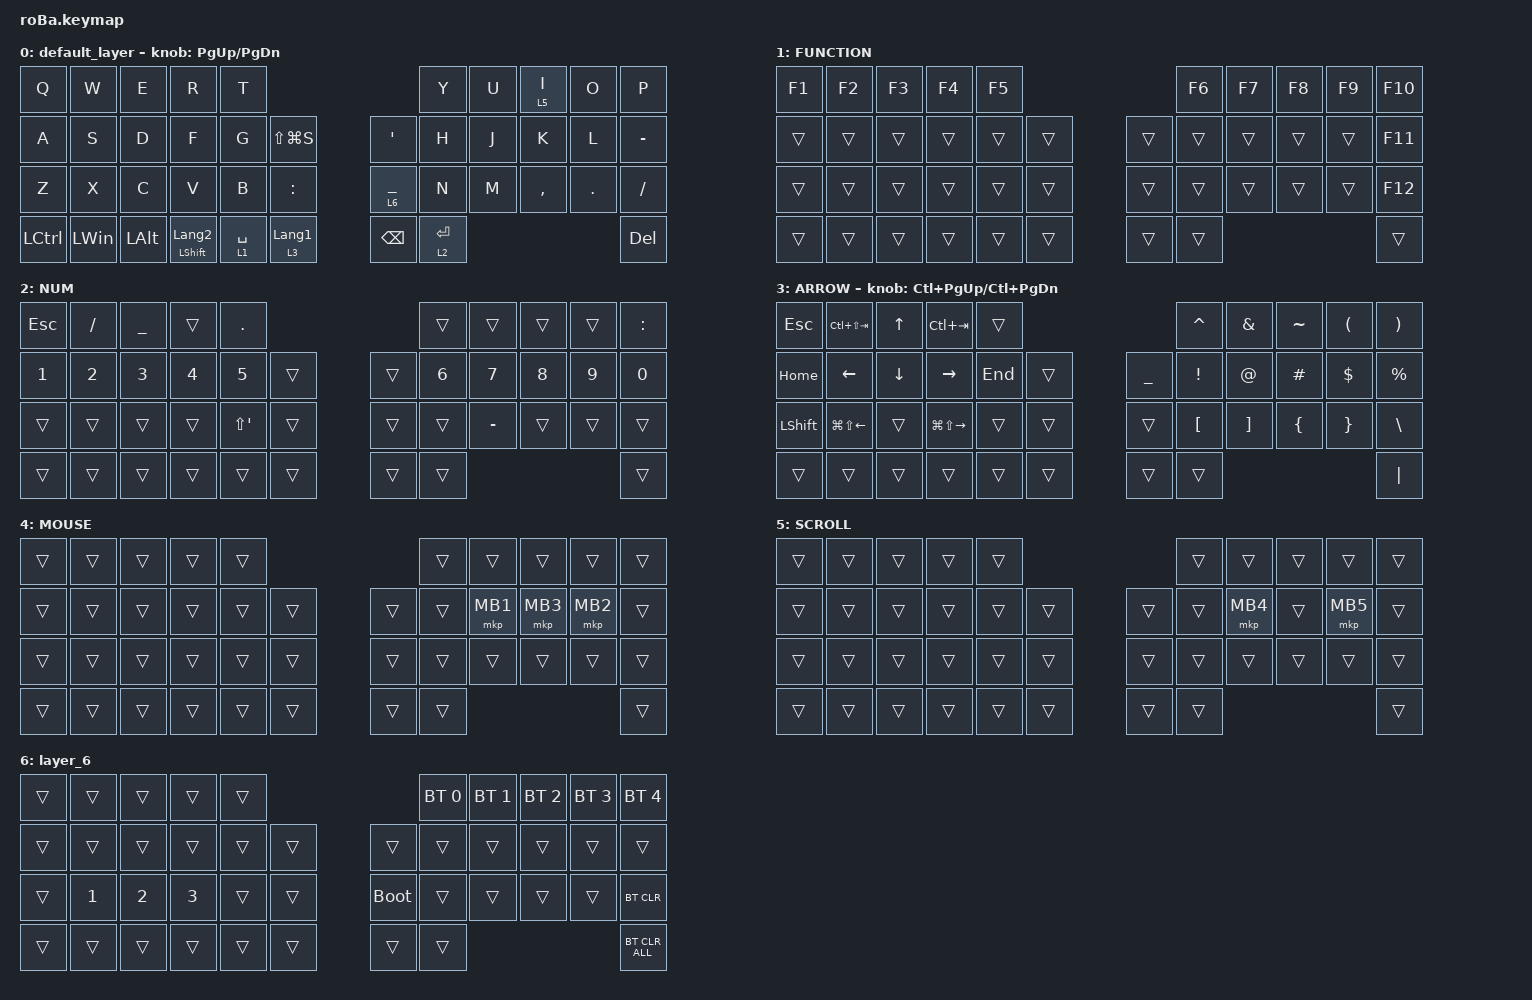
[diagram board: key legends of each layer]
#include <behaviors.dtsi>
#include <dt-bindings/zmk/bt.h>
#include <dt-bindings/zmk/keys.h>
#include <dt-bindings/zmk/pointing.h>

&mt {
    flavor = "balanced";
    quick-tap-ms = <0>;
};

&trackball {
    automouse-layer = <4>;
    scroll-layers = <5>;

    // arrows {
    //     layers = <3>;
    //     bindings =
    //         <&kp RIGHT_ARROW>,
    //         <&kp LEFT_ARROW>,
    //         <&kp UP_ARROW>,
    //         <&kp DOWN_ARROW>;
    //     tick = <10>;
    //     wait-ms = <5>;
    //     tap-ms = <5>;
    // };
};

/ {
    combos {
        compatible = "zmk,combos";

        tab {
            bindings = <&kp TAB>;
            key-positions = <11 12>;
        };

        shift_tab {
            bindings = <&kp LS(TAB)>;
            key-positions = <12 13>;
        };

        muhennkann {
            bindings = <&to_layer_0 INT_MUHENKAN>;
            key-positions = <11 10>;
        };

        double_quotation {
            bindings = <&kp DOUBLE_QUOTES>;
            key-positions = <20 21>;
        };

        eq {
            bindings = <&kp EQUAL>;
            key-positions = <24 25>;
        };
    };

    macros {
        to_layer_0: to_layer_0 {
            compatible = "zmk,behavior-macro-one-param";
            #binding-cells = <1>;
            bindings = <&to 0 &macro_param_1to1 &kp MACRO_PLACEHOLDER>;
            label = "TO_LAYER_0";
        };
    };

    behaviors {
        lt_to_layer_0: lt_to_layer_0 {
            compatible = "zmk,behavior-hold-tap";
            label = "LAYER_TAP_TO_0";
            bindings = <&mo>, <&to_layer_0>;

            #binding-cells = <2>;
            tapping-term-ms = <200>;
        };
    };

    keymap {
        compatible = "zmk,keymap";

        default_layer {
            bindings = <
&kp Q      &kp W         &kp E         &kp R                      &kp T                                                                      &kp Y        &kp U  &lt 5 I    &kp O    &kp P
&kp A      &kp S         &kp D         &kp F                      &kp G        &kp LS(LG(S))                    &kp SQT                      &kp H        &kp J  &kp K      &kp L    &kp MINUS
&kp Z      &kp X         &kp C         &kp V                      &kp B        &kp COLON                        &lt_to_layer_0 6 UNDERSCORE  &kp N        &kp M  &kp COMMA  &kp DOT  &kp SLASH
&kp LCTRL  &kp LEFT_WIN  &kp LEFT_ALT  &mt LEFT_SHIFT LANGUAGE_2  &lt 1 SPACE  &lt_to_layer_0 3 LANGUAGE_1      &kp BACKSPACE                &lt 2 ENTER                             &kp DEL
            >;

            sensor-bindings = <&inc_dec_kp PG_UP PAGE_DOWN>;
        };

        FUNCTION {
            bindings = <
&kp F1  &kp F2  &kp F3  &kp F4  &kp F5                      &kp F6  &kp F7  &kp F8  &kp F9  &kp F10
&trans  &trans  &trans  &trans  &trans  &trans      &trans  &trans  &trans  &trans  &trans  &kp F11
&trans  &trans  &trans  &trans  &trans  &trans      &trans  &trans  &trans  &trans  &trans  &kp F12
&trans  &trans  &trans  &trans  &trans  &trans      &trans  &trans                          &trans
            >;
        };

        NUM {
            bindings = <
&kp ESCAPE    &kp SLASH     &kp UNDER     &trans        &kp PERIOD                        &trans        &trans        &trans        &trans        &kp COLON
&kp NUMBER_1  &kp NUMBER_2  &kp NUMBER_3  &kp NUMBER_4  &kp NUMBER_5  &trans      &trans  &kp NUMBER_6  &kp NUMBER_7  &kp NUMBER_8  &kp NUMBER_9  &kp NUMBER_0
&trans        &trans        &trans        &trans        &kp LS(APOS)  &trans      &trans  &trans        &kp MINUS     &trans        &trans        &trans
&trans        &trans        &trans        &trans        &trans        &trans      &trans  &trans                                                  &trans
            >;
        };

        ARROW {
            bindings = <
&kp ESCAPE      &kp LC(LS(TAB))         &kp UP_ARROW    &kp LC(TAB)              &trans                          &kp CARET         &kp AMPERSAND      &kp TILDE       &kp LEFT_PARENTHESIS  &kp RIGHT_PARENTHESIS
&kp HOME        &kp LEFT_ARROW          &kp DOWN_ARROW  &kp RIGHT_ARROW          &kp END  &trans      &kp UNDER  &kp EXCLAMATION   &kp AT_SIGN        &kp HASH        &kp DOLLAR            &kp PERCENT
&kp LEFT_SHIFT  &kp LG(LS(LEFT_ARROW))  &trans          &kp LG(LS(RIGHT_ARROW))  &trans   &trans      &trans     &kp LEFT_BRACKET  &kp RIGHT_BRACKET  &kp LEFT_BRACE  &kp RIGHT_BRACE       &kp BACKSLASH
&trans          &trans                  &trans          &trans                   &trans   &trans      &trans     &trans                                                                     &kp PIPE
            >;

            sensor-bindings = <&inc_dec_kp LC(PAGE_UP) LC(PAGE_DOWN)>;
        };

        MOUSE {
            bindings = <
&trans  &trans  &trans  &trans  &trans                      &trans  &trans    &trans    &trans    &trans
&trans  &trans  &trans  &trans  &trans  &trans      &trans  &trans  &mkp MB1  &mkp MB3  &mkp MB2  &trans
&trans  &trans  &trans  &trans  &trans  &trans      &trans  &trans  &trans    &trans    &trans    &trans
&trans  &trans  &trans  &trans  &trans  &trans      &trans  &trans                                &trans
            >;
        };

        SCROLL {
            bindings = <
&trans  &trans  &trans  &trans  &trans                      &trans  &trans    &trans  &trans    &trans
&trans  &trans  &trans  &trans  &trans  &trans      &trans  &trans  &mkp MB4  &trans  &mkp MB5  &trans
&trans  &trans  &trans  &trans  &trans  &trans      &trans  &trans  &trans    &trans  &trans    &trans
&trans  &trans  &trans  &trans  &trans  &trans      &trans  &trans                              &trans
            >;
        };

        layer_6 {
            bindings = <
&trans  &trans        &trans        &trans        &trans                           &bt BT_SEL 0  &bt BT_SEL 1  &bt BT_SEL 2  &bt BT_SEL 3  &bt BT_SEL 4
&trans  &trans        &trans        &trans        &trans  &trans      &trans       &trans        &trans        &trans        &trans        &trans
&trans  &kp NUMBER_1  &kp NUMBER_2  &kp NUMBER_3  &trans  &trans      &bootloader  &trans        &trans        &trans        &trans        &bt BT_CLR
&trans  &trans        &trans        &trans        &trans  &trans      &trans       &trans                                                  &bt BT_CLR_ALL
            >;
        };
    };
};
